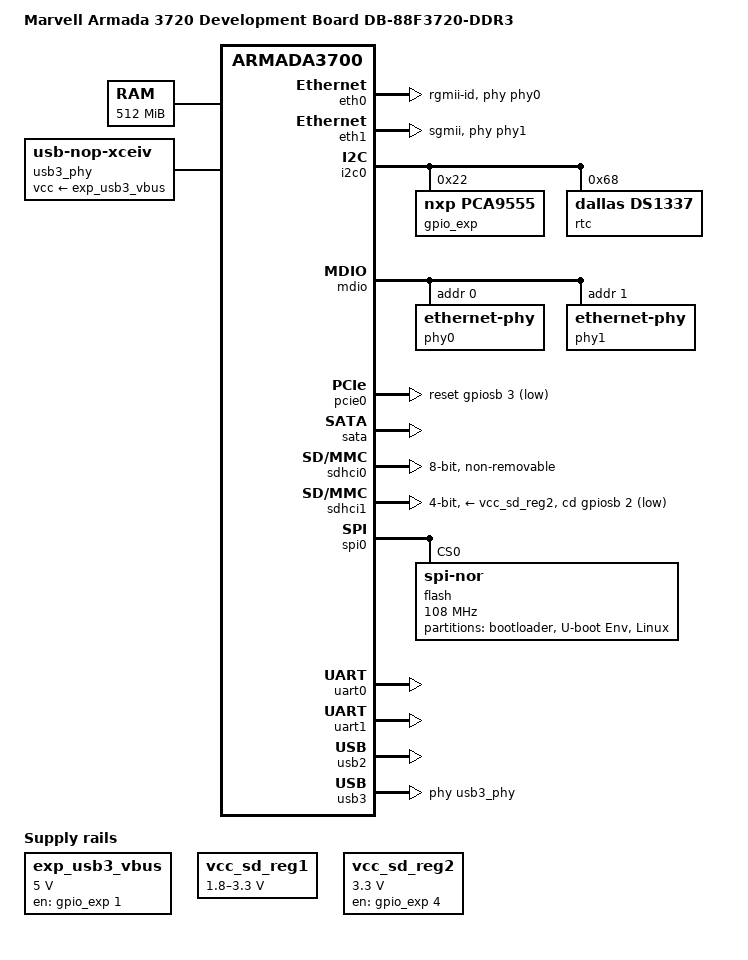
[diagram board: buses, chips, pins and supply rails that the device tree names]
// SPDX-License-Identifier: (GPL-2.0+ OR MIT)
/*
 * Device Tree file for Marvell Armada 3720 development board
 * (DB-88F3720-DDR3)
 * Copyright (C) 2016 Marvell
 *
 * Gregory CLEMENT <gregory.clement@free-electrons.com>
 *
 * This file is compatible with the version 1.4 and the version 2.0 of
 * the board, however the CON numbers are different between the 2
 * version
 */

/dts-v1/;

#include <dt-bindings/gpio/gpio.h>
#include "armada-372x.dtsi"

/ {
	model = "Marvell Armada 3720 Development Board DB-88F3720-DDR3";
	compatible = "marvell,armada-3720-db", "marvell,armada3720", "marvell,armada3700";

	chosen {
		stdout-path = "serial0:115200n8";
	};

	memory@0 {
		device_type = "memory";
		reg = <0x00000000 0x00000000 0x00000000 0x20000000>;
	};

	exp_usb3_vbus: usb3-vbus {
		compatible = "regulator-fixed";
		regulator-name = "usb3-vbus";
		regulator-min-microvolt = <5000000>;
		regulator-max-microvolt = <5000000>;
		enable-active-high;
		regulator-always-on;
		gpio = <&gpio_exp 1 GPIO_ACTIVE_HIGH>;
	};

	usb3_phy: usb3-phy {
		compatible = "usb-nop-xceiv";
		vcc-supply = <&exp_usb3_vbus>;
	};

	vcc_sd_reg1: regulator {
		compatible = "regulator-gpio";
		regulator-name = "vcc_sd1";
		regulator-min-microvolt = <1800000>;
		regulator-max-microvolt = <3300000>;
		regulator-boot-on;

		gpios = <&gpiosb 23 GPIO_ACTIVE_HIGH>;
		gpios-states = <0>;
		states = <1800000 0x1
			  3300000 0x0>;
		enable-active-high;
	};

	vcc_sd_reg2: regulator-vmcc {
		compatible = "regulator-fixed";
		regulator-name = "vcc_sd2";
		regulator-min-microvolt = <3300000>;
		regulator-max-microvolt = <3300000>;
		regulator-boot-on;
		enable-active-high;
		gpio = <&gpio_exp 4 GPIO_ACTIVE_HIGH>;
	};
};

/* Gigabit module on CON19(V2.0)/CON21(V1.4) */
&eth0 {
	pinctrl-names = "default";
	pinctrl-0 = <&rgmii_pins>;
	phy-mode = "rgmii-id";
	phy = <&phy0>;
	status = "okay";
};

/* Gigabit module on CON18(V2.0)/CON20(V1.4) */
&eth1 {
	phy-mode = "sgmii";
	phy = <&phy1>;
	status = "okay";
};

&i2c0 {
	pinctrl-names = "default";
	pinctrl-0 = <&i2c1_pins>;
	status = "okay";

	gpio_exp: pca9555@22 {
		compatible = "nxp,pca9555";
		gpio-controller;
		#gpio-cells = <2>;

		reg = <0x22>;
		/*
		 * IO0_0: PWR_EN_USB2	IO1_0: PWR_EN_VTT
		 * IO0_1: PWR_EN_USB23	IO1_1: MPCIE_WDISABLE
		 * IO0_2: PWR_EN_SATA	IO1_2: RGMII_DEV_RSTN
		 * IO0_3: PWR_EN_PCIE	IO1_3: SGMII_DEV_RSTN
		 * IO0_4: PWR_EN_SD
		 * IO0_5: PWR_EN_EMMC
		 * IO0_6: PWR_EN_RGMII	IO1_6: SATA_USB3.0_SEL
		 * IO0_7: PWR_EN_SGMII	IO1_7: PWR_MCI_PS
		 */
	};

	rtc@68  {
		/* PT7C4337A from pericom fully compatible with the ds1337 */
		compatible = "dallas,ds1337";
		reg = <0x68>;
	};
};

&mdio {
	status = "okay";
	phy0: ethernet-phy@0 {
		reg = <0>;
	};

	phy1: ethernet-phy@1 {
		reg = <1>;
	};
};

/* CON15(V2.0)/CON17(V1.4) : PCIe / CON15(V2.0)/CON12(V1.4) :mini-PCIe */
&pcie0 {
	pinctrl-names = "default";
	pinctrl-0 = <&pcie_reset_pins &pcie_clkreq_pins>;
	reset-gpios = <&gpiosb 3 GPIO_ACTIVE_LOW>;
	status = "okay";
};

/* CON3 */
&sata {
	status = "okay";
};

&sdhci0 {
	non-removable;
	bus-width = <8>;
	mmc-ddr-1_8v;
	mmc-hs400-1_8v;
	marvell,pad-type = "fixed-1-8v";
	status = "okay";
};

/* SD slot module on CON14(V2.0)/CON15(V1.4) */
&sdhci1 {
	wp-inverted;
	cd-gpios = <&gpiosb 2 GPIO_ACTIVE_LOW>;
	bus-width = <4>;
	marvell,pad-type = "sd";
	vqmmc-supply = <&vcc_sd_reg1>;
	vmmc-supply = <&vcc_sd_reg2>;
	status = "okay";
};

&spi0 {
	status = "okay";
	pinctrl-names = "default";
	pinctrl-0 = <&spi_quad_pins>;

	flash@0 {
		compatible = "jedec,spi-nor";
		reg = <0>;
		spi-max-frequency = <108000000>;
		spi-rx-bus-width = <4>;
		spi-tx-bus-width = <4>;

		partitions {
			compatible = "fixed-partitions";
			#address-cells = <1>;
			#size-cells = <1>;
			partition@0 {
				label = "bootloader";
				reg = <0x0 0x200000>;
			};
			partition@200000 {
				label = "U-boot Env";
				reg = <0x200000 0x10000>;
			};
			partition@210000 {
				label = "Linux";
				reg = <0x210000 0xDF0000>;
			};
		};
	};
};

/*
 * Exported on the micro USB connector CON30(V2.0)/CON32(V1.4) through
 * an FTDI (also on CON24(V2.0)/CON26(V1.4)).
 */
&uart0 {
	pinctrl-names = "default";
	pinctrl-0 = <&uart1_pins>;
	status = "okay";
};

/* CON26(V2.0)/CON28(V1.4) */
&uart1 {
	pinctrl-names = "default";
	pinctrl-0 = <&uart2_pins>;
	status = "okay";
};

/* CON27(V2.0)/CON29(V1.4) */
&usb2 {
	status = "okay";
};

/* CON29(V2.0)/CON31(V1.4) */
&usb3 {
	status = "okay";
	usb-phy = <&usb3_phy>;
};
